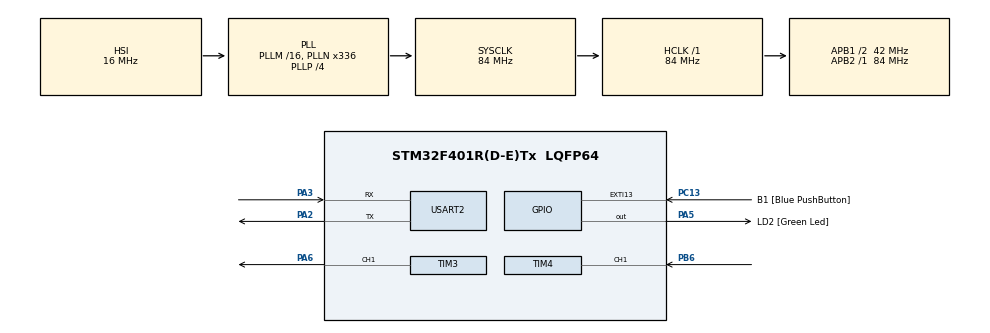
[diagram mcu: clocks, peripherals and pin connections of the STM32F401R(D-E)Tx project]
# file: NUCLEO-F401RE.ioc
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Mcu.Family=STM32F4
Mcu.Name=STM32F401R(D-E)Tx
Mcu.Package=LQFP64
NVIC.PriorityGroup=NVIC_PRIORITYGROUP_0
NVIC.TIM4_IRQn=true\:0\:0\:false\:false\:true\:true\:true\:true
NVIC.USART2_IRQn=true\:0\:0\:false\:false\:true\:true\:true\:true
PA13.GPIO_Label=TMS
PA13.Mode=Serial_Wire
PA13.Signal=SYS_JTMS-SWDIO
PA14.GPIO_Label=TCK
PA14.Mode=Serial_Wire
PA14.Signal=SYS_JTCK-SWCLK
PA2.Mode=Asynchronous
PA2.Signal=USART2_TX
PA3.Mode=Asynchronous
PA3.Signal=USART2_RX
PA5.GPIO_Label=LD2 [Green Led]
PA5.GPIO_Mode=GPIO_MODE_OUTPUT_PP
PA5.GPIO_PuPd=GPIO_NOPULL
PA5.GPIO_Speed=GPIO_SPEED_FREQ_LOW
PA5.Signal=GPIO_Output
PA6.Signal=S_TIM3_CH1
PB3.GPIO_Label=SWO
PB3.Signal=SYS_JTDO-SWO
PB6.Signal=S_TIM4_CH1
PC13-ANTI_TAMP.GPIO_Label=B1 [Blue PushButton]
PC13-ANTI_TAMP.GPIO_ModeDefaultEXTI=GPIO_MODE_IT_FALLING
PC13-ANTI_TAMP.GPIO_PuPd=GPIO_NOPULL
PC13-ANTI_TAMP.Signal=GPXTI13
PC14-OSC32_IN.Mode=LSE-External-Oscillator
PC14-OSC32_IN.Signal=RCC_OSC32_IN
PC15-OSC32_OUT.Mode=LSE-External-Oscillator
PC15-OSC32_OUT.Signal=RCC_OSC32_OUT
PH0\ -\ OSC_IN.Mode=HSE-External-Oscillator
PH0\ -\ OSC_IN.Signal=RCC_OSC_IN
PH1\ -\ OSC_OUT.Mode=HSE-External-Oscillator
PH1\ -\ OSC_OUT.Signal=RCC_OSC_OUT
ProjectManager.HeapSize=0x200
ProjectManager.StackSize=0x400
ProjectManager.TargetToolchain=STM32CubeIDE
RCC.48MHZClocksFreq_Value=48000000
RCC.AHBFreq_Value=84000000
RCC.APB1CLKDivider=RCC_HCLK_DIV2
RCC.APB1Freq_Value=42000000
RCC.APB1TimFreq_Value=84000000
RCC.APB2Freq_Value=84000000
RCC.APB2TimFreq_Value=84000000
RCC.CortexFreq_Value=84000000
RCC.HCLKFreq_Value=84000000
RCC.HSE_VALUE=8000000
RCC.HSI_VALUE=16000000
RCC.PLLN=336
RCC.PLLP=RCC_PLLP_DIV4
RCC.PLLQ=7
RCC.RCC_RTC_Clock_Source=RCC_RTCCLKSOURCE_LSE
RCC.RCC_RTC_Clock_SourceVirtual=RCC_RTCCLKSOURCE_LSE
RCC.SYSCLKFreq_VALUE=84000000
RCC.SYSCLKSource=RCC_SYSCLKSOURCE_PLLCLK
RCC.VCOOutputFreq_Value=336000000
SH.S_TIM3_CH1.0=TIM3_CH1,Output Compare1 CH1
SH.S_TIM4_CH1.0=TIM4_CH1,Input_Capture1_from_TI1
TIM3.Channel-Output\ Compare1\ CH1=TIM_CHANNEL_1
TIM3.OCMode_1=TIM_OCMODE_TOGGLE
TIM3.Period=10000-1
TIM3.Prescaler=8400-1
TIM3.Pulse-Output\ Compare1\ CH1=0
TIM4.Channel-Input_Capture1_from_TI1=TIM_CHANNEL_1
TIM4.Period=65535
TIM4.Prescaler=0
USART2.VirtualMode=VM_ASYNC
VP_RTC_VS_RTC_Activate.Mode=RTC_Enabled
VP_TIM3_VS_ClockSourceINT.Mode=Internal
VP_TIM4_VS_ClockSourceINT.Mode=Internal
board=NUCLEO-F401RE

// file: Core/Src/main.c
/* USER CODE BEGIN Header */
/**
  ******************************************************************************
  * @file           : main.c
  * @brief          : Main program body
  ******************************************************************************
  * @attention
  *
  * Copyright (c) 2023 STMicroelectronics.
  * All rights reserved.
  *
  * This software is licensed under terms that can be found in the LICENSE file
  * in the root directory of this software component.
  * If no LICENSE file comes with this software, it is provided AS-IS.
  *
  ******************************************************************************
  */
/* USER CODE END Header */
#include "main.h"
#include "rtc.h"
#include "tim.h"
#include "usart.h"
#include "gpio.h"

void SystemClock_Config(void);

/* USER CODE BEGIN 0 */
uint32_t IC_Value1 = 0;
uint32_t IC_Value2 = 0;
uint32_t Difference = 0;
uint32_t Frequency = 0;
uint8_t First_Captured = 0;
uint32_t value = 1;

int __io_putchar(int ch){
	HAL_UART_Transmit(&huart2, (uint8_t *)&ch, 1, 0xFFFF);
	return ch;
}

void HAL_TIM_IC_CaptureCallback(TIM_HandleTypeDef *htim){

	if(htim->Channel == HAL_TIM_ACTIVE_CHANNEL_1){
		if(First_Captured == 0){
			IC_Value1 = HAL_TIM_ReadCapturedValue(htim, TIM_CHANNEL_1);
			First_Captured = 1;
		}
		else if(First_Captured){
			IC_Value2 = HAL_TIM_ReadCapturedValue(htim, TIM_CHANNEL_1);
			if(IC_Value2 > IC_Value1){
				Difference = IC_Value2-IC_Value1;
			}
			else if(IC_Value2 < IC_Value1){
				Difference = ((0xffff-IC_Value1)+IC_Value2) + 1;
			}
			else{
				Error_Handler();
			}
			Frequency = 2*HAL_RCC_GetPCLK1Freq()/Difference;
			First_Captured = 0;
		}
	}
}
/* USER CODE END 0 */

int main(void)
{

  /* MCU Configuration--------------------------------------------------------*/

  /* Reset of all peripherals, Initializes the Flash interface and the Systick. */
  HAL_Init();

  /* Configure the system clock */
  SystemClock_Config();

  /* Initialize all configured peripherals */
  MX_GPIO_Init();
  MX_USART2_UART_Init();
  MX_TIM3_Init();
  MX_TIM4_Init();
  MX_RTC_Init();
  /* USER CODE BEGIN 2 */
  HAL_TIM_OC_Start(&htim3, TIM_CHANNEL_1);
  HAL_TIM_IC_Start_IT(&htim4, TIM_CHANNEL_1);
  /* USER CODE END 2 */

  /* Infinite loop */
  /* USER CODE BEGIN WHILE */
  while (1)
  {
	  TIM3->ARR=value++;
	  if(value > 200)value = 0;
	  printf("ARR value=%ld, frequency=%ldHz\r\n", value, Frequency);
	  HAL_Delay(100);

    /* USER CODE END WHILE */

  }
}

void SystemClock_Config(void)
{
  RCC_OscInitTypeDef RCC_OscInitStruct = {0};
  RCC_ClkInitTypeDef RCC_ClkInitStruct = {0};

  /** Configure the main internal regulator output voltage
  */
  __HAL_RCC_PWR_CLK_ENABLE();
  __HAL_PWR_VOLTAGESCALING_CONFIG(PWR_REGULATOR_VOLTAGE_SCALE2);

  /** Initializes the RCC Oscillators according to the specified parameters
  * in the RCC_OscInitTypeDef structure.
  */
  RCC_OscInitStruct.OscillatorType = RCC_OSCILLATORTYPE_HSI|RCC_OSCILLATORTYPE_LSE;
  RCC_OscInitStruct.LSEState = RCC_LSE_ON;
  RCC_OscInitStruct.HSIState = RCC_HSI_ON;
  RCC_OscInitStruct.HSICalibrationValue = RCC_HSICALIBRATION_DEFAULT;
  RCC_OscInitStruct.PLL.PLLState = RCC_PLL_ON;
  RCC_OscInitStruct.PLL.PLLSource = RCC_PLLSOURCE_HSI;
  RCC_OscInitStruct.PLL.PLLM = 16;
  RCC_OscInitStruct.PLL.PLLN = 336;
  RCC_OscInitStruct.PLL.PLLP = RCC_PLLP_DIV4;
  RCC_OscInitStruct.PLL.PLLQ = 7;
  if (HAL_RCC_OscConfig(&RCC_OscInitStruct) != HAL_OK)
  {
    Error_Handler();
  }

  /** Initializes the CPU, AHB and APB buses clocks
  */
  RCC_ClkInitStruct.ClockType = RCC_CLOCKTYPE_HCLK|RCC_CLOCKTYPE_SYSCLK
                              |RCC_CLOCKTYPE_PCLK1|RCC_CLOCKTYPE_PCLK2;
  RCC_ClkInitStruct.SYSCLKSource = RCC_SYSCLKSOURCE_PLLCLK;
  RCC_ClkInitStruct.AHBCLKDivider = RCC_SYSCLK_DIV1;
  RCC_ClkInitStruct.APB1CLKDivider = RCC_HCLK_DIV2;
  RCC_ClkInitStruct.APB2CLKDivider = RCC_HCLK_DIV1;

  if (HAL_RCC_ClockConfig(&RCC_ClkInitStruct, FLASH_LATENCY_2) != HAL_OK)
  {
    Error_Handler();
  }
}

void Error_Handler(void)
{
  __disable_irq();
  while (1)
  {
  }
}
